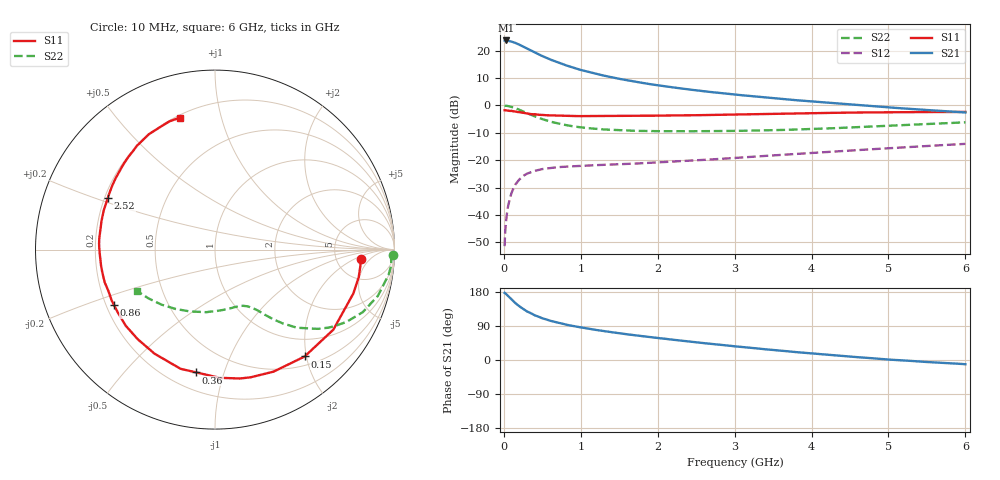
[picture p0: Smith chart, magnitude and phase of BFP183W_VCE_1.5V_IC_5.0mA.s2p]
! Infineon Technologies  Discrete & RF Semiconductors
! BFP183W
! VCE = 1.5 V,  IC =  5.0 mA
! Common Emitter S-Parameters:  Jan 2016
# GHz  S  MA  R  50
!  f  S11  S21  S12  S22
! GHz  MAG  ANG  MAG  ANG  MAG  ANG  MAG  ANG
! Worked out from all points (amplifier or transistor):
!   210 points, 10 MHz to 6 GHz, reference 50 ohm
!   highest |S21| = 23.7 dB at 30 MHz (marker M1)
!   |S21| within 3 dB of that: start of sweep to 303 MHz
!   unconditionally stable (mu >= 1): 1.729 GHz to end of sweep
!   at 185 MHz: K = 0.15, MSG = 25.0 dB, |S12| = -27.6 dB
!   at 1.52 GHz: K = 0.92, MSG = 15.5 dB, |S12| = -21.5 dB
!   at 6 GHz: K = 1.01, MAG = 5.3 dB, |S12| = -14.0 dB
!   S11 on the Smith chart (normalised r, x): 10 MHz: 8.97, -2.83; 150 MHz: 0.65, -1.97; 360 MHz: 0.31, -0.81; 860 MHz: 0.23, -0.24; 2.52 GHz: 0.21, +0.22; 6 GHz: 0.21, +0.75
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0.01  0.8161 -3.7  15.25 177.2  0.0027 87.3  0.9906 -1.6
0.03  0.8153 -10.8  15.33 173.9  0.0079 87.4  0.9862 -5.0
0.05  0.8087 -17.6  15.2 169.5  0.0132 81.8  0.9772 -8.3
0.1  0.796 -34.1  14.61 159.6  0.0252 72.5  0.9433 -15.9
0.15  0.7774 -50.0  13.84 150.0  0.036 64.7  0.8937 -23.0
0.2  0.7541 -64.4  12.86 141.7  0.0442 58.3  0.836 -28.8
0.24  0.7387 -74.4  12.07 136.3  0.0499 53.5  0.79 -32.7
0.3  0.7148 -87.9  10.9 128.3  0.0567 48.0  0.7236 -37.6
0.36  0.6922 -98.7  9.89 122.6  0.0609 43.5  0.6674 -41.0
0.4  0.6913 -106.1  9.278 118.1  0.0639 40.9  0.6314 -43.6
0.5  0.6707 -120.1  7.956 110.1  0.0689 36.3  0.5613 -47.3
0.6  0.6593 -130.7  6.911 103.7  0.072 33.0  0.5086 -50.0
0.7  0.6537 -139.6  6.121 98.4  0.0745 31.2  0.4695 -51.9
0.86  0.6419 -151.1  5.109 91.3  0.0772 29.0  0.4245 -54.4
1.02  0.6377 -159.8  4.368 85.3  0.0789 27.7  0.395 -56.6
1.4  0.6416 -175.6  3.262 73.3  0.0836 27.5  0.3589 -61.4
2.02  0.6522 165.8  2.31 57.7  0.0914 30.3  0.3387 -70.8
2.52  0.6633 154.2  1.87 46.3  0.0998 32.8  0.3383 -79.8
3.1  0.6851 142.2  1.532 34.3  0.1124 34.8  0.3443 -91.5
4.1  0.7262 125.5  1.154 15.8  0.1383 35.6  0.3751 -114.2
5.1  0.7505 113.0  0.9 0.0  0.1686 33.6  0.4331 -136.2
6  0.7605 104.9  0.744 -11.1  0.1988 30.5  0.4912 -151.9
